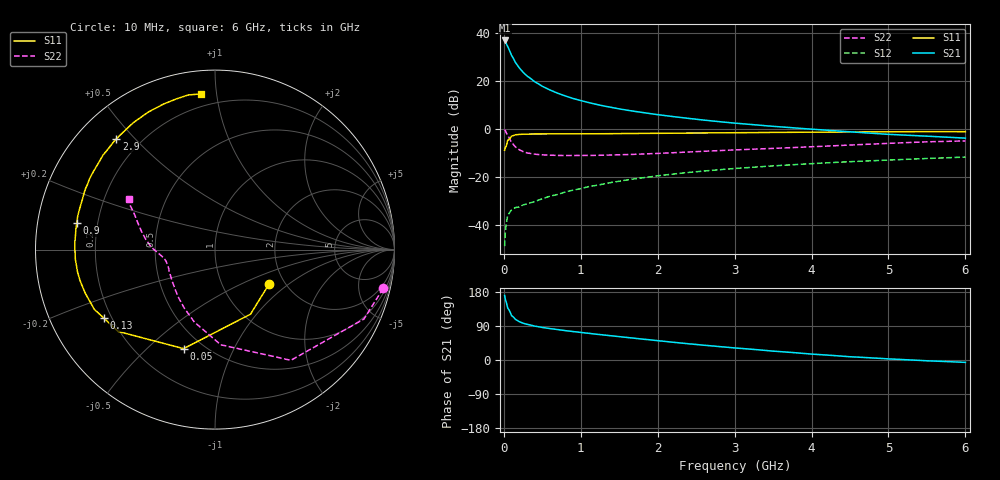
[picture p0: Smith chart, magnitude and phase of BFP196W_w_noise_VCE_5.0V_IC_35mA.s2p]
! Infineon Technologies  Discrete & RF Semiconductors
! BFP196W
! VCE =  5.0 V,  IC =  35 mA
! Common Emitter S-Parameters:  Jan 2017
# GHz  S  MA  R  50
!  f  S11  S21  S12  S22
! GHz  MAG  ANG  MAG  ANG  MAG  ANG  MAG  ANG
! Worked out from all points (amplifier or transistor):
!   77 points, 10 MHz to 6 GHz, reference 50 ohm
!   highest |S21| = 36.8 dB at 10 MHz (marker M1)
!   |S21| within 3 dB of that: start of sweep to 57.56 MHz
!   unconditionally stable (mu >= 1): 815.2 MHz to 3.265 GHz
!   at 130 MHz: K = 0.35, MSG = 31.1 dB, |S12| = -33.2 dB
!   at 2.2 GHz: K = 1.04, MAG = 10.7 dB, |S12| = -18.9 dB
!   at 6 GHz: K = 0.93, MSG = 3.9 dB, |S12| = -11.8 dB
!   lowest NFmin = 1.19 dB at 450 MHz
!   S11 on the Smith chart (normalised r, x): 10 MHz: 1.65, -0.74; 50 MHz: 0.39, -0.65; 130 MHz: 0.17, -0.28; 900 MHz: 0.12, +0.09; 2.9 GHz: 0.11, +0.44; 6 GHz: 0.13, +0.91
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0.01  0.3573 -32.9  69.01 170.2  0.0036 82.8  0.9617 -13.0
0.02  0.4106 -61.2  65.62 159.9  0.0073 74.5  0.9155 -25.0
0.05  0.5789 -107.6  51.88 137.1  0.0157 54.3  0.7477 -55.6
0.1  0.7063 -139.8  33.88 117.1  0.0205 43.3  0.5309 -86.6
0.13  0.7276 -148.3  27.98 112.1  0.0219 40.5  0.4581 -97.0
0.15  0.7503 -153.7  24.22 107.4  0.0229 38.9  0.4204 -105.8
0.2  0.7627 -161.5  18.61 101.3  0.0236 38.5  0.367 -118.0
0.25  0.7713 -166.9  15.07 97.1  0.026 40.4  0.3353 -127.4
0.3  0.7761 -170.7  12.63 94.2  0.0273 41.9  0.3159 -134.1
0.4  0.7799 -176.1  9.575 89.4  0.0305 45.4  0.2965 -143.6
0.5  0.7805 180.0  7.677 85.9  0.0349 50.0  0.2867 -149.9
0.6  0.7817 176.7  6.419 82.9  0.0396 52.1  0.2828 -154.3
0.7  0.7816 174.0  5.501 80.3  0.0429 55.1  0.2786 -157.6
0.9  0.7838 169.0  4.276 75.1  0.0528 57.1  0.2782 -162.0
1.1  0.7875 164.6  3.522 70.5  0.0624 58.8  0.2794 -165.0
1.5  0.7946 156.6  2.597 61.7  0.081 58.8  0.2879 -169.9
2.1  0.8067 145.2  1.881 49.0  0.1095 56.1  0.3124 -175.7
2.9  0.8258 131.8  1.359 33.7  0.1447 50.3  0.3576 177.1
3.1  0.8295 128.7  1.273 30.3  0.1528 48.7  0.3687 175.2
4.1  0.8526 114.5  0.958 14.3  0.1918 40.8  0.4294 164.8
5.1  0.8676 103.6  0.753 2.0  0.2268 33.0  0.5049 154.8
6  0.8711 95.2  0.639 -6.3  0.2576 26.1  0.5593 149.5
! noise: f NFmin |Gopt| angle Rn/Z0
0.45  1.19  0.46  180  0.06
0.9  1.33  0.53  -174  0.06
1.9  2.17  0.68  -151  0.13
2.4  2.57  0.73  -145  0.23
